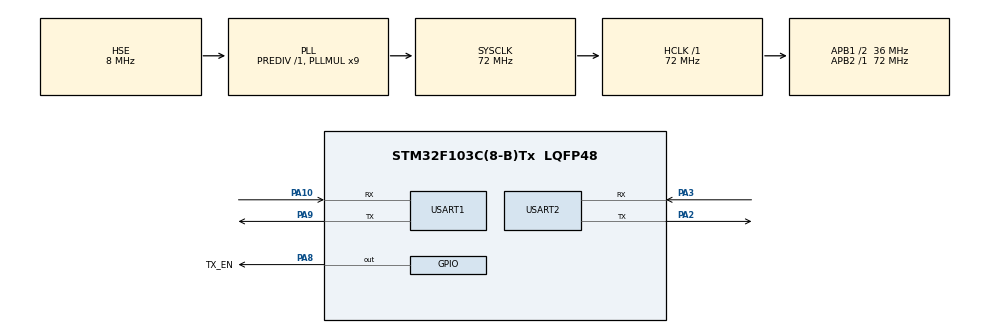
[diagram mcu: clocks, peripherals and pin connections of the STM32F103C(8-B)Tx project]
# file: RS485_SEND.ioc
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Mcu.Family=STM32F1
Mcu.Name=STM32F103C(8-B)Tx
Mcu.Package=LQFP48
NVIC.PriorityGroup=NVIC_PRIORITYGROUP_4
NVIC.USART1_IRQn=true\:0\:0\:false\:false\:true\:true\:true\:true
PA10.Mode=Asynchronous
PA10.Signal=USART1_RX
PA13.Mode=Serial_Wire
PA13.Signal=SYS_JTMS-SWDIO
PA14.Mode=Serial_Wire
PA14.Signal=SYS_JTCK-SWCLK
PA2.Mode=Asynchronous
PA2.Signal=USART2_TX
PA3.Mode=Asynchronous
PA3.Signal=USART2_RX
PA8.GPIO_Label=TX_EN
PA8.Signal=GPIO_Output
PA9.Mode=Asynchronous
PA9.Signal=USART1_TX
PD0-OSC_IN.Mode=HSE-External-Oscillator
PD0-OSC_IN.Signal=RCC_OSC_IN
PD1-OSC_OUT.Mode=HSE-External-Oscillator
PD1-OSC_OUT.Signal=RCC_OSC_OUT
ProjectManager.HeapSize=0x200
ProjectManager.StackSize=0x400
ProjectManager.TargetToolchain=STM32CubeIDE
RCC.AHBFreq_Value=72000000
RCC.APB1CLKDivider=RCC_HCLK_DIV2
RCC.APB1Freq_Value=36000000
RCC.APB1TimFreq_Value=72000000
RCC.APB2Freq_Value=72000000
RCC.APB2TimFreq_Value=72000000
RCC.HCLKFreq_Value=72000000
RCC.PLLMUL=RCC_PLL_MUL9
RCC.PLLSourceVirtual=RCC_PLLSOURCE_HSE
RCC.SYSCLKFreq_VALUE=72000000
RCC.SYSCLKSource=RCC_SYSCLKSOURCE_PLLCLK
RCC.USBFreq_Value=72000000
USART1.VirtualMode=VM_ASYNC
USART2.VirtualMode=VM_ASYNC
board=custom

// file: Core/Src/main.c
/* USER CODE BEGIN Header */
/**
  ******************************************************************************
  * @file           : main.c
  * @brief          : Main program body
  ******************************************************************************
  * @attention
  *
  * Copyright (c) 2024 STMicroelectronics.
  * All rights reserved.
  *
  * This software is licensed under terms that can be found in the LICENSE file
  * in the root directory of this software component.
  * If no LICENSE file comes with this software, it is provided AS-IS.
  *
  ******************************************************************************
  */
/* USER CODE END Header */
#include "main.h"

/* USER CODE BEGIN Includes */
#include "stdio.h"
#include "string.h"
/* USER CODE END Includes */

/* USER CODE BEGIN PD */
#define MSG_SIZE 16
/* USER CODE END PD */

UART_HandleTypeDef huart1;
UART_HandleTypeDef huart2;

/* USER CODE BEGIN PV */
uint8_t TxData[MSG_SIZE];
uint8_t RxData[MSG_SIZE];
int indx = 0;

uint8_t test[MSG_SIZE] = { 1, 1, 1, 1, 1, 0, 1, 1,
                           0, 0, 0, 1, 1, 1, 1, 0 //,
//                           0, 1, 1, 1, 1, 0, 0, 0,
//                           0, 1, 1, 1, 1, 0, 0, 0,
//                           1, 1, 0, 1, 1, 1, 1, 1,
//                           0, 1, 1, 0, 1, 1, 1, 1,
//                           1, 0, 0, 1, 1, 0, 0, 0,
//                           1, 0, 1, 1, 1, 0, 1, 0
};
/* USER CODE END PV */

void SystemClock_Config(void);
static void MX_GPIO_Init(void);
static void MX_USART2_UART_Init(void);
static void MX_USART1_UART_Init(void);
/* USER CODE BEGIN PFP */
void HAL_UARTEx_RxEventCallback(UART_HandleTypeDef *huart, uint16_t Size);
void sendData (uint8_t *data);
/* USER CODE END PFP */

int main(void)
{

  /* MCU Configuration--------------------------------------------------------*/

  /* Reset of all peripherals, Initializes the Flash interface and the Systick. */
  HAL_Init();

  /* Configure the system clock */
  SystemClock_Config();

  /* Initialize all configured peripherals */
  MX_GPIO_Init();
  MX_USART2_UART_Init();
  MX_USART1_UART_Init();
  /* USER CODE BEGIN 2 */
  HAL_UARTEx_ReceiveToIdle_IT(&huart1, RxData, MSG_SIZE);
  /* USER CODE END 2 */

  /* Infinite loop */
  /* USER CODE BEGIN WHILE */

  for (int i = 0; i < MSG_SIZE; i++)
  {
	  TxData[i] = test[i];
  }

  while (1)
  {
//	  sprintf(TxData, "F103 %d", indx++);
	  sendData (TxData);
	  HAL_Delay(1000);
    /* USER CODE END WHILE */

  }
}

void SystemClock_Config(void)
{
  RCC_OscInitTypeDef RCC_OscInitStruct = {0};
  RCC_ClkInitTypeDef RCC_ClkInitStruct = {0};

  /** Initializes the RCC Oscillators according to the specified parameters
  * in the RCC_OscInitTypeDef structure.
  */
  RCC_OscInitStruct.OscillatorType = RCC_OSCILLATORTYPE_HSE;
  RCC_OscInitStruct.HSEState = RCC_HSE_ON;
  RCC_OscInitStruct.HSEPredivValue = RCC_HSE_PREDIV_DIV1;
  RCC_OscInitStruct.HSIState = RCC_HSI_ON;
  RCC_OscInitStruct.PLL.PLLState = RCC_PLL_ON;
  RCC_OscInitStruct.PLL.PLLSource = RCC_PLLSOURCE_HSE;
  RCC_OscInitStruct.PLL.PLLMUL = RCC_PLL_MUL9;
  if (HAL_RCC_OscConfig(&RCC_OscInitStruct) != HAL_OK)
  {
    Error_Handler();
  }

  /** Initializes the CPU, AHB and APB buses clocks
  */
  RCC_ClkInitStruct.ClockType = RCC_CLOCKTYPE_HCLK|RCC_CLOCKTYPE_SYSCLK
                              |RCC_CLOCKTYPE_PCLK1|RCC_CLOCKTYPE_PCLK2;
  RCC_ClkInitStruct.SYSCLKSource = RCC_SYSCLKSOURCE_PLLCLK;
  RCC_ClkInitStruct.AHBCLKDivider = RCC_SYSCLK_DIV1;
  RCC_ClkInitStruct.APB1CLKDivider = RCC_HCLK_DIV2;
  RCC_ClkInitStruct.APB2CLKDivider = RCC_HCLK_DIV1;

  if (HAL_RCC_ClockConfig(&RCC_ClkInitStruct, FLASH_LATENCY_2) != HAL_OK)
  {
    Error_Handler();
  }
}

static void MX_USART1_UART_Init(void)
{

  huart1.Instance = USART1;
  huart1.Init.BaudRate = 115200;
  huart1.Init.WordLength = UART_WORDLENGTH_8B;
  huart1.Init.StopBits = UART_STOPBITS_1;
  huart1.Init.Parity = UART_PARITY_NONE;
  huart1.Init.Mode = UART_MODE_TX_RX;
  huart1.Init.HwFlowCtl = UART_HWCONTROL_NONE;
  huart1.Init.OverSampling = UART_OVERSAMPLING_16;
  if (HAL_UART_Init(&huart1) != HAL_OK)
  {
    Error_Handler();
  }

}

static void MX_USART2_UART_Init(void)
{

  huart2.Instance = USART2;
  huart2.Init.BaudRate = 115200;
  huart2.Init.WordLength = UART_WORDLENGTH_8B;
  huart2.Init.StopBits = UART_STOPBITS_1;
  huart2.Init.Parity = UART_PARITY_NONE;
  huart2.Init.Mode = UART_MODE_TX_RX;
  huart2.Init.HwFlowCtl = UART_HWCONTROL_NONE;
  huart2.Init.OverSampling = UART_OVERSAMPLING_16;
  if (HAL_UART_Init(&huart2) != HAL_OK)
  {
    Error_Handler();
  }

}

static void MX_GPIO_Init(void)
{
  GPIO_InitTypeDef GPIO_InitStruct = {0};

  /* GPIO Ports Clock Enable */
  __HAL_RCC_GPIOD_CLK_ENABLE();
  __HAL_RCC_GPIOA_CLK_ENABLE();

  /*Configure GPIO pin Output Level */
  HAL_GPIO_WritePin(TX_EN_GPIO_Port, TX_EN_Pin, GPIO_PIN_RESET);

  /*Configure GPIO pin : TX_EN_Pin */
  GPIO_InitStruct.Pin = TX_EN_Pin;
  GPIO_InitStruct.Mode = GPIO_MODE_OUTPUT_PP;
  GPIO_InitStruct.Pull = GPIO_NOPULL;
  GPIO_InitStruct.Speed = GPIO_SPEED_FREQ_LOW;
  HAL_GPIO_Init(TX_EN_GPIO_Port, &GPIO_InitStruct);

}

/* USER CODE BEGIN 4 */
/**
  * @brief UARTEx Event Callback
  * @param None
  * @retval None
  */
void HAL_UARTEx_RxEventCallback(UART_HandleTypeDef *huart, uint16_t Size)
{
	HAL_UARTEx_ReceiveToIdle_IT(&huart1, RxData, 16);
}

/**
  * @brief Function to sent data through uart
  * @param None
  * @retval None
  */
void sendData (uint8_t *data)
{
	// Pull DE high to enable TX operation
	HAL_GPIO_WritePin(TX_EN_GPIO_Port, TX_EN_Pin, GPIO_PIN_SET);
	HAL_UART_Transmit(&huart1, data, strlen (data) , 1000);
	// Pull RE Low to enable RX operation
	HAL_GPIO_WritePin(TX_EN_GPIO_Port, TX_EN_Pin, GPIO_PIN_RESET);
}
/* USER CODE END 4 */

void Error_Handler(void)
{
  __disable_irq();
  while (1)
  {
  }
}
